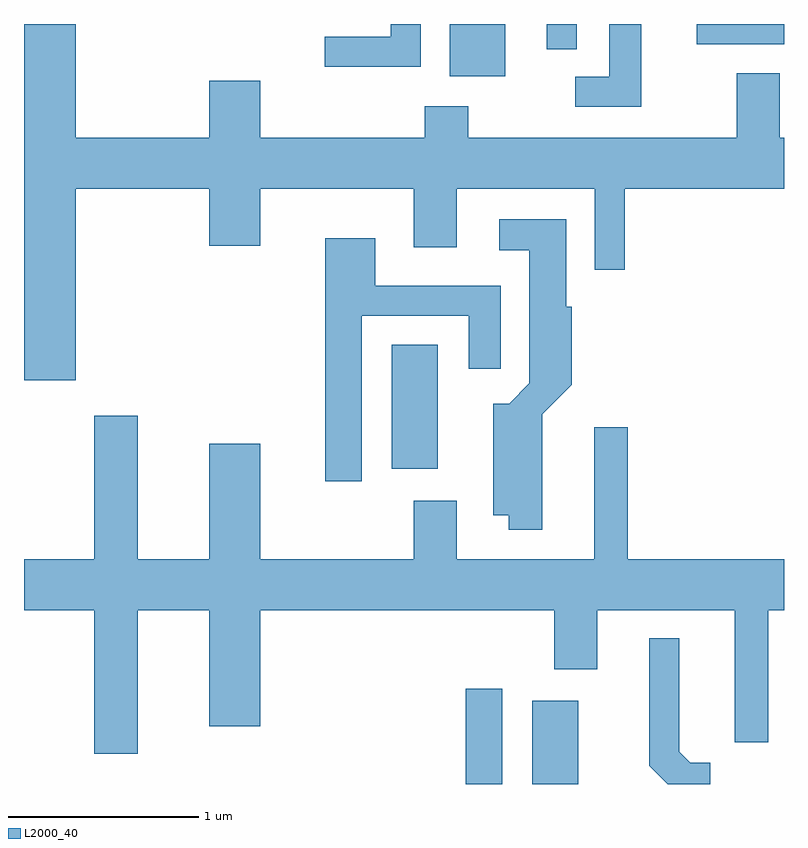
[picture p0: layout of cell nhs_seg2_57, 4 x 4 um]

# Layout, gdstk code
import gdstk
lib = gdstk.Library(unit=1e-6, precision=1e-09)
def R(c, l, rs):  # rectangles x0, y0, x1, y1
    for r in rs: c.add(gdstk.rectangle(r[:2], r[2:], *l))
def P(c, l, *ps):  # polygons
    for p in ps: c.add(gdstk.Polygon(p, *l))
L2000_40 = (2000, 40)

nhs_seg2_57 = lib.new_cell('nhs_seg2_57')
R(nhs_seg2_57, L2000_40, [(187.936,1091.802,188.129,1092.304), (188.286,1091.802,188.529,1092.239), (187.546,1093.461,187.789,1094.114), (187.851,1095.526,188.144,1095.802), (188.361,1095.668,188.519,1095.802), (189.151,1095.696,189.611,1095.802)])
P(nhs_seg2_57, L2000_40, [(188.859,1095.802),(188.691,1095.802),(188.691,1095.524),(188.513,1095.524),(188.513,1095.366),(188.859,1095.366)],
  [(185.884,1094.936),(186.586,1094.936),(186.586,1094.636),(186.854,1094.636),(186.854,1094.936),(187.661,1094.936),(187.661,1094.626),(187.889,1094.626),(187.889,1094.936),(188.616,1094.936),(188.616,1094.508),(188.774,1094.508),(188.774,1094.936),(189.611,1094.936),(189.611,1095.204),(189.589,1095.204),(189.589,1095.544),(189.361,1095.544),(189.361,1095.204),(187.949,1095.204),(187.949,1095.369),(187.721,1095.369),(187.721,1095.204),(186.854,1095.204),(186.854,1095.504),(186.586,1095.504),(186.586,1095.204),(185.884,1095.204),(185.884,1095.802),(185.611,1095.802),(185.611,1093.926),(185.884,1093.926)],
  [(187.699,1095.802),(187.541,1095.802),(187.541,1095.734),(187.193,1095.734),(187.193,1095.576),(187.699,1095.576)],
  [(188.339,1093.749),(188.494,1093.904),(188.494,1094.314),(188.464,1094.314),(188.464,1094.774),(188.113,1094.774),(188.113,1094.611),(188.271,1094.611),(188.271,1093.912),(188.164,1093.804),(188.081,1093.804),(188.081,1093.216),(188.161,1093.216),(188.161,1093.141),(188.339,1093.141)],
  [(187.389,1094.266),(187.951,1094.266),(187.951,1093.988),(188.119,1093.988),(188.119,1094.424),(187.459,1094.424),(187.459,1094.674),(187.196,1094.674),(187.196,1093.396),(187.389,1093.396)],
  [(186.209,1092.716),(186.586,1092.716),(186.586,1092.106),(186.854,1092.106),(186.854,1092.716),(188.401,1092.716),(188.401,1092.406),(188.629,1092.406),(188.629,1092.716),(189.351,1092.716),(189.351,1092.021),(189.529,1092.021),(189.529,1092.716),(189.611,1092.716),(189.611,1092.984),(188.789,1092.984),(188.789,1093.679),(188.611,1093.679),(188.611,1092.984),(187.889,1092.984),(187.889,1093.294),(187.661,1093.294),(187.661,1092.984),(186.854,1092.984),(186.854,1093.594),(186.586,1093.594),(186.586,1092.984),(186.209,1092.984),(186.209,1093.739),(185.981,1093.739),(185.981,1092.984),(185.611,1092.984),(185.611,1092.716),(185.981,1092.716),(185.981,1091.961),(186.209,1091.961)],
  [(189.224,1091.914),(189.117,1091.914),(189.059,1091.972),(189.059,1092.568),(188.901,1092.568),(188.901,1091.899),(188.998,1091.802),(189.224,1091.802)])

lib.write_gds('nhs_seg2_57.gds')
